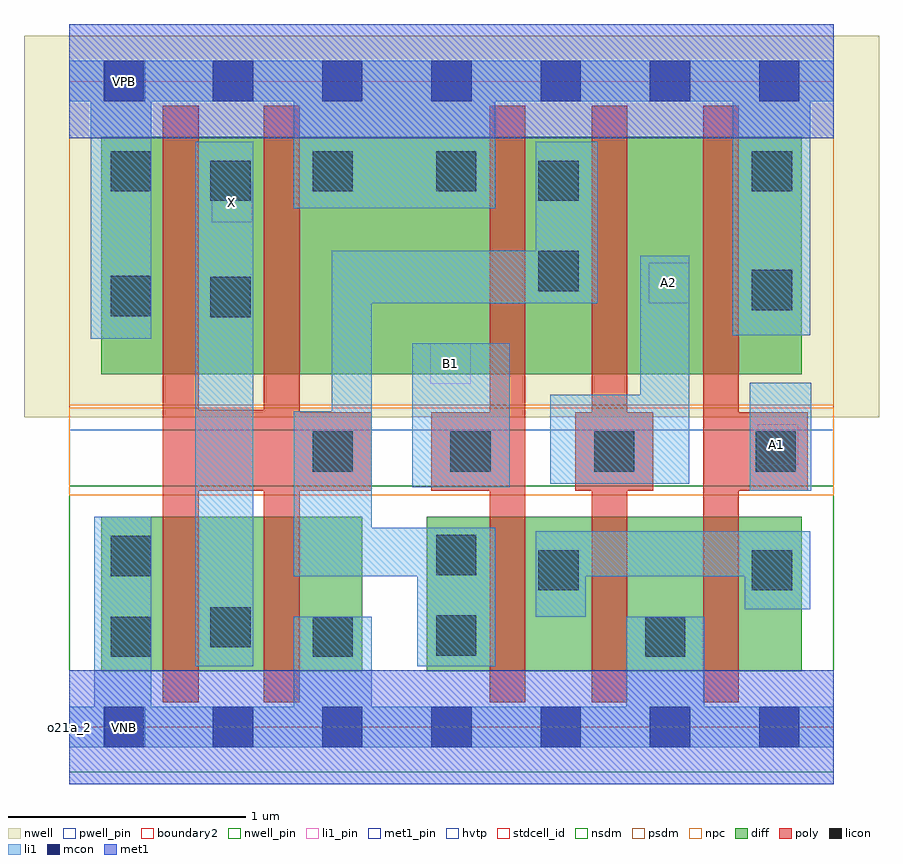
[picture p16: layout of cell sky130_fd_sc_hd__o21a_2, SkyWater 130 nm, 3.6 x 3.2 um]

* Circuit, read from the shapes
.subckt sky130_fd_sc_hd__o21a_2 A1 A2 B1 VGND VNB VPB VPWR X
XM1 X n1 VGND VNB sky130_fd_pr__nfet_01v8 w=0.65 l=0.15 m=2
XM2 n2 B1 n1 VNB sky130_fd_pr__nfet_01v8 w=0.65 l=0.15
XM3 VGND A2 n2 VNB sky130_fd_pr__nfet_01v8 w=0.65 l=0.15
XM4 n2 A1 VGND VNB sky130_fd_pr__nfet_01v8 w=0.65 l=0.15
XM5 X n1 VPWR VPB sky130_fd_pr__pfet_01v8_hvt w=1 l=0.15 m=2
XM6 n1 B1 VPWR VPB sky130_fd_pr__pfet_01v8_hvt w=1 l=0.15
XM7 n3 A2 n1 VPB sky130_fd_pr__pfet_01v8_hvt w=1 l=0.15
XM8 VPWR A1 n3 VPB sky130_fd_pr__pfet_01v8_hvt w=1 l=0.15
.ends

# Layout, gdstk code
import gdstk
lib = gdstk.Library(unit=1e-6, precision=1e-09)
def R(c, l, rs):  # rectangles x0, y0, x1, y1
    for r in rs: c.add(gdstk.rectangle(r[:2], r[2:], *l))
def A(c, l, x, y, w, h, nx, ny, dx, dy):  # array of equal rectangles
    R(c, l, [(x+i*dx, y+j*dy, x+i*dx+w, y+j*dy+h) for i in range(nx) for j in range(ny)])
def P(c, l, *ps):  # polygons
    for p in ps: c.add(gdstk.Polygon(p, *l))
nwell_pin = (64, 16)
nwell = (64, 20)
diff = (65, 20)
poly = (66, 20)
licon = (66, 44)
li1_pin = (67, 16)
li1 = (67, 20)
mcon = (67, 44)
met1_pin = (68, 16)
met1 = (68, 20)
hvtp = (78, 44)
stdcell_id = (81, 4)
nsdm = (93, 44)
psdm = (94, 20)
npc = (95, 20)
pwell_pin = (122, 16)
boundary2 = (236, 0)

sky130_fd_sc_hd__o21a_2 = lib.new_cell('sky130_fd_sc_hd__o21a_2')
R(sky130_fd_sc_hd__o21a_2, nwell_pin, [(0.15,2.635,0.32,2.805)])
R(sky130_fd_sc_hd__o21a_2, nwell, [(-0.19,1.305,3.41,2.91)])
R(sky130_fd_sc_hd__o21a_2, diff, [(0.135,0.235,1.235,0.885), (1.505,0.235,3.085,0.885), (0.135,1.485,3.085,2.485)])
P(sky130_fd_sc_hd__o21a_2, poly, [(1.275,1.325),(0.97,1.325),(0.97,2.615),(0.82,2.615),(0.82,1.335),(0.545,1.335),(0.545,2.615),(0.395,2.615),(0.395,0.105),(0.545,0.105),(0.545,0.995),(0.82,0.995),(0.82,0.105),(0.97,0.105),(0.97,0.995),(1.275,0.995)],
  [(1.92,2.615),(1.77,2.615),(1.77,1.325),(1.525,1.325),(1.525,0.995),(1.77,0.995),(1.77,0.105),(1.92,0.105)],
  [(2.46,1.325),(2.35,1.325),(2.35,2.615),(2.2,2.615),(2.2,1.325),(2.13,1.325),(2.13,0.995),(2.2,0.995),(2.2,0.105),(2.35,0.105),(2.35,0.995),(2.46,0.995)],
  [(3.11,1.325),(2.82,1.325),(2.82,2.615),(2.67,2.615),(2.67,0.105),(2.82,0.105),(2.82,0.995),(3.11,0.995)])
R(sky130_fd_sc_hd__o21a_2, licon, [(0.175,0.295,0.345,0.465), (1.025,0.295,1.195,0.465), (2.425,0.295,2.595,0.465), (1.545,0.3,1.715,0.47), (0.595,0.335,0.765,0.505), (1.975,0.575,2.145,0.745), (2.875,0.575,3.045,0.745), (0.175,0.635,0.345,0.805), (1.545,0.64,1.715,0.81), (1.025,1.075,1.195,1.245), (1.605,1.075,1.775,1.245), (2.21,1.075,2.38,1.245), (2.89,1.075,3.06,1.245), (0.595,1.725,0.765,1.895), (0.175,1.73,0.345,1.9), (2.875,1.755,3.045,1.925), (1.975,1.835,2.145,2.005), (0.595,2.215,0.765,2.385), (1.975,2.215,2.145,2.385), (0.175,2.255,0.345,2.425), (1.025,2.255,1.195,2.425), (1.545,2.255,1.715,2.425), (2.875,2.255,3.045,2.425)])
R(sky130_fd_sc_hd__o21a_2, li1_pin, [(2.9,1.105,3.07,1.275), (1.52,1.445,1.69,1.615), (2.44,1.785,2.61,1.955), (0.6,2.125,0.77,2.295)])
R(sky130_fd_sc_hd__o21a_2, li1, [(0.53,0.255,0.775,2.465), (2.865,0.995,3.125,1.45), (1.445,1.01,1.855,1.615)])
P(sky130_fd_sc_hd__o21a_2, li1, [(3.22,0.085),(2.675,0.085),(2.675,0.465),(2.345,0.465),(2.345,0.085),(1.275,0.085),(1.275,0.465),(0.945,0.465),(0.945,0.085),(0.345,0.085),(0.345,0.885),(0.105,0.885),(0.105,0.085),(0,0.085),(0,-0.085),(3.22,-0.085)],
  [(3.22,2.805),(0,2.805),(0,2.635),(0.09,2.635),(0.09,1.635),(0.345,1.635),(0.345,2.635),(0.945,2.635),(0.945,2.185),(1.795,2.185),(1.795,2.635),(2.795,2.635),(2.795,1.65),(3.12,1.65),(3.12,2.635),(3.22,2.635)],
  [(2.225,2.465),(1.965,2.465),(1.965,2.005),(1.105,2.005),(1.105,1.33),(0.945,1.33),(0.945,0.635),(1.465,0.635),(1.465,0.255),(1.795,0.255),(1.795,0.84),(1.275,0.84),(1.275,1.785),(2.225,1.785)],
  [(2.61,1.985),(2.405,1.985),(2.405,1.4),(2.025,1.4),(2.025,1.025),(2.61,1.025)],
  [(3.12,0.825),(1.965,0.825),(1.965,0.465),(2.175,0.465),(2.175,0.635),(2.845,0.635),(2.845,0.495),(3.12,0.495)])
A(sky130_fd_sc_hd__o21a_2, mcon, 0.145, -0.085, 0.17, 0.17, 7, 2, 0.46, 2.72)
R(sky130_fd_sc_hd__o21a_2, met1_pin, [(0.15,-0.085,0.32,0.085), (0.15,2.635,0.32,2.805)])
R(sky130_fd_sc_hd__o21a_2, hvtp, [(0,1.25,3.22,2.72)])
R(sky130_fd_sc_hd__o21a_2, stdcell_id, [(0,0,3.22,2.72)])
R(sky130_fd_sc_hd__o21a_2, nsdm, [(0,-0.19,3.22,1.015)])
R(sky130_fd_sc_hd__o21a_2, psdm, [(0,1.355,3.22,2.91)])
R(sky130_fd_sc_hd__o21a_2, npc, [(0,0.975,3.22,1.345)])
R(sky130_fd_sc_hd__o21a_2, pwell_pin, [(0.15,-0.085,0.32,0.085)])
R(sky130_fd_sc_hd__o21a_2, boundary2, [(0,0,3.22,2.72)])
sky130_fd_sc_hd__o21a_2.add(gdstk.FlexPath([(0,2.72),(3.22,2.72)], 0.48, ends="flush", simple_path=True, layer=68, datatype=20))  # met1
sky130_fd_sc_hd__o21a_2.add(gdstk.FlexPath([(0,0),(3.22,0)], 0.48, ends="flush", simple_path=True, layer=68, datatype=20))  # met1
sky130_fd_sc_hd__o21a_2.add(gdstk.Label('A1', (2.98,1.19), layer=67, texttype=5))
sky130_fd_sc_hd__o21a_2.add(gdstk.Label('B1', (1.605,1.53), layer=67, texttype=5))
sky130_fd_sc_hd__o21a_2.add(gdstk.Label('A2', (2.525,1.87), layer=67, texttype=5))
sky130_fd_sc_hd__o21a_2.add(gdstk.Label('X', (0.685,2.21), layer=67, texttype=5))
sky130_fd_sc_hd__o21a_2.add(gdstk.Label('VNB', (0.235,0), layer=64, texttype=59))
sky130_fd_sc_hd__o21a_2.add(gdstk.Label('VPB', (0.235,2.72), layer=64, texttype=5))
sky130_fd_sc_hd__o21a_2.add(gdstk.Label('VGND', (0.235,0), layer=68, texttype=5))
sky130_fd_sc_hd__o21a_2.add(gdstk.Label('VPWR', (0.235,2.72), layer=68, texttype=5))
sky130_fd_sc_hd__o21a_2.add(gdstk.Label('o21a_2', (0,0), layer=83, texttype=44))

lib.write_gds('sky130_fd_sc_hd__o21a_2.gds')
